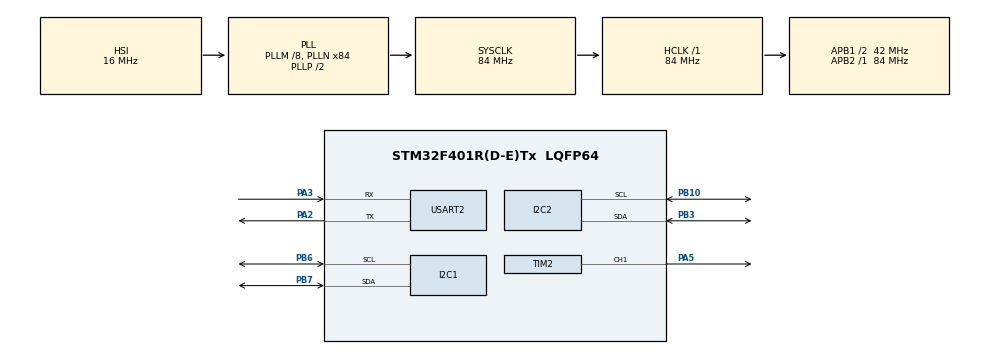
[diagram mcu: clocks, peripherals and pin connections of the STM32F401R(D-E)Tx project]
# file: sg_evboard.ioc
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I2C1.OwnAddress=20
Mcu.Family=STM32F4
Mcu.Name=STM32F401R(D-E)Tx
Mcu.Package=LQFP64
NVIC.I2C1_ER_IRQn=true\:0\:0\:false\:false\:true\:true\:true
NVIC.I2C1_EV_IRQn=true\:0\:0\:false\:false\:true\:true\:true
NVIC.I2C2_ER_IRQn=true\:0\:0\:false\:false\:true\:true\:true
NVIC.I2C2_EV_IRQn=true\:0\:0\:false\:false\:true\:true\:true
NVIC.PriorityGroup=NVIC_PRIORITYGROUP_4
NVIC.TIM2_IRQn=true\:0\:0\:false\:false\:true\:true\:true
PA13.Mode=Serial_Wire
PA13.Signal=SYS_JTMS-SWDIO
PA14.Mode=Serial_Wire
PA14.Signal=SYS_JTCK-SWCLK
PA2.Mode=Asynchronous
PA2.Signal=USART2_TX
PA3.Mode=Asynchronous
PA3.Signal=USART2_RX
PA5.Signal=S_TIM2_CH1_ETR
PB10.Mode=I2C
PB10.Signal=I2C2_SCL
PB3.Mode=I2C
PB3.Signal=I2C2_SDA
PB6.Mode=I2C
PB6.Signal=I2C1_SCL
PB7.Mode=I2C
PB7.Signal=I2C1_SDA
ProjectManager.HeapSize=0x200
ProjectManager.StackSize=0x400
ProjectManager.TargetToolchain=STM32CubeIDE
RCC.48MHZClocksFreq_Value=42000000
RCC.AHBFreq_Value=84000000
RCC.APB1CLKDivider=RCC_HCLK_DIV2
RCC.APB1Freq_Value=42000000
RCC.APB1TimFreq_Value=84000000
RCC.APB2Freq_Value=84000000
RCC.APB2TimFreq_Value=84000000
RCC.CortexFreq_Value=84000000
RCC.HCLKFreq_Value=84000000
RCC.HSE_VALUE=25000000
RCC.HSI_VALUE=16000000
RCC.LSE_VALUE=32768
RCC.PLLM=8
RCC.PLLN=84
RCC.SYSCLKFreq_VALUE=84000000
RCC.SYSCLKSource=RCC_SYSCLKSOURCE_PLLCLK
RCC.VCOOutputFreq_Value=168000000
SH.S_TIM2_CH1_ETR.0=TIM2_CH1,PWM Generation1 CH1
TIM2.AutoReloadPreload=TIM_AUTORELOAD_PRELOAD_ENABLE
TIM2.Channel-PWM\ Generation1\ CH1=TIM_CHANNEL_1
TIM2.Period=1000-1
TIM2.Prescaler=84-1
USART2.VirtualMode=VM_ASYNC
VP_TIM2_VS_ClockSourceINT.Mode=Internal
board=custom

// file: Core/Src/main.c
/* USER CODE BEGIN Header */
/**
  ******************************************************************************
  * @file           : main.c
  * @brief          : Main program body
  ******************************************************************************
  * @attention
  *
  * <h2><center>&copy; Copyright (c) 2021 STMicroelectronics.
  * All rights reserved.</center></h2>
  *
  * This software component is licensed by ST under BSD 3-Clause license,
  * the "License"; You may not use this file except in compliance with the
  * License. You may obtain a copy of the License at:
  *                        opensource.org/licenses/BSD-3-Clause
  *
  ******************************************************************************
  */
/* USER CODE END Header */
#include "main.h"

/* USER CODE BEGIN Includes */
#include "stdio.h"
#include "string.h"

/* __GNUC__ */
/* USER CODE END Includes */

/* USER CODE BEGIN PD */
#define SPEED_ON 	(1)
#define SPEED_OFF 	(0)
/* USER CODE END PD */

I2C_HandleTypeDef hi2c1;
I2C_HandleTypeDef hi2c2;

TIM_HandleTypeDef htim2;

UART_HandleTypeDef huart2;

void SystemClock_Config(void);
static void MX_GPIO_Init(void);
static void MX_TIM2_Init(void);
static void MX_I2C1_Init(void);
static void MX_I2C2_Init(void);
static void MX_USART2_UART_Init(void);
/* USER CODE BEGIN PFP */
static uint8_t I2C_recvBuf[10] = {0};
static uint8_t I2C_sendBuf[10] = {0,1,2,3,4,5,6,7,8,9};
//static uint8_t cmd;
/* USER CODE END PFP */

/* USER CODE BEGIN 0 */
int __io_putchar(int ch) {
	  HAL_UART_Transmit(&huart2, (uint8_t *)&ch, 1, 0xFFFF);
	  return ch;
}

void set_led_blinking(uint8_t on_off) {
	uint8_t status=0;
	if (on_off == 1)

		HAL_GPIO_WritePin(GPIOA, GPIO_PIN_5, GPIO_PIN_SET);
	else
		HAL_GPIO_WritePin(GPIOA, GPIO_PIN_5, GPIO_PIN_RESET);

	status = HAL_GPIO_ReadPin(GPIOA,GPIO_PIN_5);
	printf("status = %d", status);

}

void set_motor_speed(TIM_HandleTypeDef htim_num, int channel, int duty, uint8_t on_off) {
	int speed = 0;
	static uint8_t status = SPEED_OFF;

	if (on_off == SPEED_ON) {
		printf("CCR1 b =%ld\r\n",htim2.Instance->CCR1);
		speed = ((htim_num.Init.Period + 1) * duty / 100) - 1;
		if (status == SPEED_OFF) {
			HAL_TIM_PWM_Start(&htim_num, channel);
			status = SPEED_ON;
		}
		__HAL_TIM_SET_COMPARE(&htim_num, channel, speed);
		printf("CCR1 a =%ld\r\n",htim2.Instance->CCR1);

	} else {
		HAL_TIM_PWM_Stop(&htim_num, channel);
		status = SPEED_ON;
	}
}

void i2c_fn_handler(uint8_t* data, uint8_t rx_size) {
	uint8_t rxbuf[10] = {0};
	uint8_t cmd = 0;

	memcpy(rxbuf, data, rx_size);
    cmd = rxbuf[0];
    printf("cmd =%d\r\n", cmd);

    switch(cmd) {
    	case 0:
    		set_motor_speed(htim2, TIM_CHANNEL_1, 10, SPEED_ON);
    		printf("set duty 10\r\n");
    		break;
    	case 5:
    		set_motor_speed(htim2, TIM_CHANNEL_1, 90, SPEED_ON);
    		printf("set duty 90\r\n");
    		break;
    	default:
    		break;
    }

}

void HAL_I2C_SlaveRxCpltCallback(I2C_HandleTypeDef *hi2c)
{
	//uint8_t cmd = 0;
	//uint8_t rx_buf[10];

	if( hi2c->Instance = I2C1 ) {
		i2c_fn_handler(I2C_recvBuf, sizeof(I2C_recvBuf));
		memset(I2C_recvBuf, 0, sizeof(I2C_recvBuf));
		HAL_I2C_Slave_Receive_IT(hi2c, I2C_recvBuf, sizeof(I2C_recvBuf));
	}
}

/* USER CODE END 0 */

int main(void)
{

  /* MCU Configuration--------------------------------------------------------*/

  /* Reset of all peripherals, Initializes the Flash interface and the Systick. */
  HAL_Init();

  /* Configure the system clock */
  SystemClock_Config();

  /* Initialize all configured peripherals */
  MX_GPIO_Init();
  MX_TIM2_Init();
  MX_I2C1_Init();
  MX_I2C2_Init();
  MX_USART2_UART_Init();

  /* Infinite loop */
  /* USER CODE BEGIN WHILE */
  HAL_TIM_PWM_Start(&htim2, TIM_CHANNEL_1);
  HAL_I2C_Slave_Receive_IT(&hi2c1,I2C_recvBuf,sizeof(I2C_recvBuf));
  while (1)
  {
    /* USER CODE END WHILE */

    /* USER CODE BEGIN 3 */

	for (int i=0; i< 10; i++) {
		I2C_sendBuf[0] = i;
		HAL_I2C_Master_Transmit(&hi2c2, (20<<1)|0x00, I2C_sendBuf, sizeof(I2C_sendBuf), 1000);
		HAL_Delay(1000);
	}
	  //	printf("abc\r\n");
  }
  /* USER CODE END 3 */
}

void SystemClock_Config(void)
{
  RCC_OscInitTypeDef RCC_OscInitStruct = {0};
  RCC_ClkInitTypeDef RCC_ClkInitStruct = {0};

  /** Configure the main internal regulator output voltage
  */
  __HAL_RCC_PWR_CLK_ENABLE();
  __HAL_PWR_VOLTAGESCALING_CONFIG(PWR_REGULATOR_VOLTAGE_SCALE2);
  /** Initializes the RCC Oscillators according to the specified parameters
  * in the RCC_OscInitTypeDef structure.
  */
  RCC_OscInitStruct.OscillatorType = RCC_OSCILLATORTYPE_HSI;
  RCC_OscInitStruct.HSIState = RCC_HSI_ON;
  RCC_OscInitStruct.HSICalibrationValue = RCC_HSICALIBRATION_DEFAULT;
  RCC_OscInitStruct.PLL.PLLState = RCC_PLL_ON;
  RCC_OscInitStruct.PLL.PLLSource = RCC_PLLSOURCE_HSI;
  RCC_OscInitStruct.PLL.PLLM = 8;
  RCC_OscInitStruct.PLL.PLLN = 84;
  RCC_OscInitStruct.PLL.PLLP = RCC_PLLP_DIV2;
  RCC_OscInitStruct.PLL.PLLQ = 4;
  if (HAL_RCC_OscConfig(&RCC_OscInitStruct) != HAL_OK)
  {
    Error_Handler();
  }
  /** Initializes the CPU, AHB and APB buses clocks
  */
  RCC_ClkInitStruct.ClockType = RCC_CLOCKTYPE_HCLK|RCC_CLOCKTYPE_SYSCLK
                              |RCC_CLOCKTYPE_PCLK1|RCC_CLOCKTYPE_PCLK2;
  RCC_ClkInitStruct.SYSCLKSource = RCC_SYSCLKSOURCE_PLLCLK;
  RCC_ClkInitStruct.AHBCLKDivider = RCC_SYSCLK_DIV1;
  RCC_ClkInitStruct.APB1CLKDivider = RCC_HCLK_DIV2;
  RCC_ClkInitStruct.APB2CLKDivider = RCC_HCLK_DIV1;

  if (HAL_RCC_ClockConfig(&RCC_ClkInitStruct, FLASH_LATENCY_2) != HAL_OK)
  {
    Error_Handler();
  }
}

static void MX_I2C1_Init(void)
{

  hi2c1.Instance = I2C1;
  hi2c1.Init.ClockSpeed = 100000;
  hi2c1.Init.DutyCycle = I2C_DUTYCYCLE_2;
  hi2c1.Init.OwnAddress1 = 40;
  hi2c1.Init.AddressingMode = I2C_ADDRESSINGMODE_7BIT;
  hi2c1.Init.DualAddressMode = I2C_DUALADDRESS_DISABLE;
  hi2c1.Init.OwnAddress2 = 0;
  hi2c1.Init.GeneralCallMode = I2C_GENERALCALL_DISABLE;
  hi2c1.Init.NoStretchMode = I2C_NOSTRETCH_DISABLE;
  if (HAL_I2C_Init(&hi2c1) != HAL_OK)
  {
    Error_Handler();
  }

}

static void MX_I2C2_Init(void)
{

  hi2c2.Instance = I2C2;
  hi2c2.Init.ClockSpeed = 100000;
  hi2c2.Init.DutyCycle = I2C_DUTYCYCLE_2;
  hi2c2.Init.OwnAddress1 = 0;
  hi2c2.Init.AddressingMode = I2C_ADDRESSINGMODE_7BIT;
  hi2c2.Init.DualAddressMode = I2C_DUALADDRESS_DISABLE;
  hi2c2.Init.OwnAddress2 = 0;
  hi2c2.Init.GeneralCallMode = I2C_GENERALCALL_DISABLE;
  hi2c2.Init.NoStretchMode = I2C_NOSTRETCH_DISABLE;
  if (HAL_I2C_Init(&hi2c2) != HAL_OK)
  {
    Error_Handler();
  }

}

static void MX_TIM2_Init(void)
{

  TIM_ClockConfigTypeDef sClockSourceConfig = {0};
  TIM_MasterConfigTypeDef sMasterConfig = {0};
  TIM_OC_InitTypeDef sConfigOC = {0};

  htim2.Instance = TIM2;
  htim2.Init.Prescaler = 8400-1;
  htim2.Init.CounterMode = TIM_COUNTERMODE_UP;
  htim2.Init.Period = 10000-1;
  htim2.Init.ClockDivision = TIM_CLOCKDIVISION_DIV1;
  htim2.Init.AutoReloadPreload = TIM_AUTORELOAD_PRELOAD_ENABLE;
  if (HAL_TIM_Base_Init(&htim2) != HAL_OK)
  {
    Error_Handler();
  }
  sClockSourceConfig.ClockSource = TIM_CLOCKSOURCE_INTERNAL;
  if (HAL_TIM_ConfigClockSource(&htim2, &sClockSourceConfig) != HAL_OK)
  {
    Error_Handler();
  }
  if (HAL_TIM_PWM_Init(&htim2) != HAL_OK)
  {
    Error_Handler();
  }
  sMasterConfig.MasterOutputTrigger = TIM_TRGO_RESET;
  sMasterConfig.MasterSlaveMode = TIM_MASTERSLAVEMODE_DISABLE;
  if (HAL_TIMEx_MasterConfigSynchronization(&htim2, &sMasterConfig) != HAL_OK)
  {
    Error_Handler();
  }
  sConfigOC.OCMode = TIM_OCMODE_PWM1;
  sConfigOC.Pulse = 0;
  sConfigOC.OCPolarity = TIM_OCPOLARITY_HIGH;
  sConfigOC.OCFastMode = TIM_OCFAST_DISABLE;
  if (HAL_TIM_PWM_ConfigChannel(&htim2, &sConfigOC, TIM_CHANNEL_1) != HAL_OK)
  {
    Error_Handler();
  }
  HAL_TIM_MspPostInit(&htim2);

}

static void MX_USART2_UART_Init(void)
{

  huart2.Instance = USART2;
  huart2.Init.BaudRate = 115200;
  huart2.Init.WordLength = UART_WORDLENGTH_8B;
  huart2.Init.StopBits = UART_STOPBITS_1;
  huart2.Init.Parity = UART_PARITY_NONE;
  huart2.Init.Mode = UART_MODE_TX_RX;
  huart2.Init.HwFlowCtl = UART_HWCONTROL_NONE;
  huart2.Init.OverSampling = UART_OVERSAMPLING_16;
  if (HAL_UART_Init(&huart2) != HAL_OK)
  {
    Error_Handler();
  }

}

static void MX_GPIO_Init(void)
{

  /* GPIO Ports Clock Enable */
  __HAL_RCC_GPIOA_CLK_ENABLE();
  __HAL_RCC_GPIOB_CLK_ENABLE();

}

void Error_Handler(void)
{
  __disable_irq();
  while (1)
  {
  }
}

/************************ (C) COPYRIGHT STMicroelectronics *****END OF FILE****/
